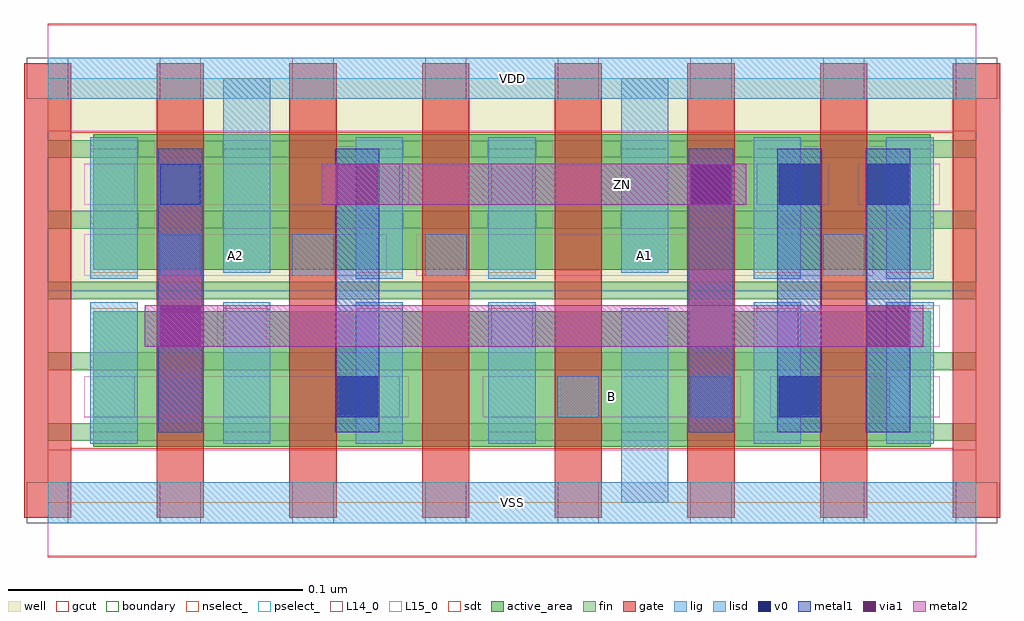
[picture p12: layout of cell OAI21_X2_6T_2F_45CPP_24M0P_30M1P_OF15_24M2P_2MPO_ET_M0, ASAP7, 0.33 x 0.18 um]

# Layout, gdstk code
import gdstk
lib = gdstk.Library(unit=1e-6, precision=2.5e-10)
def R(c, l, rs):  # rectangles x0, y0, x1, y1
    for r in rs: c.add(gdstk.rectangle(r[:2], r[2:], *l))
def A(c, l, x, y, w, h, nx, ny, dx, dy):  # array of equal rectangles
    R(c, l, [(x+i*dx, y+j*dy, x+i*dx+w, y+j*dy+h) for i in range(nx) for j in range(ny)])
well = (1, 0)
fin = (2, 0)
gate = (7, 0)
gcut = (10, 0)
active_area = (11, 0)
nselect_ = (12, 0)
pselect_ = (13, 0)
L14_0 = (14, 0)
L15_0 = (15, 0)
lig = (16, 0)
lisd = (17, 0)
v0 = (18, 0)
metal1 = (19, 0)
metal2 = (20, 0)
via1 = (21, 0)
sdt = (88, 0)
boundary = (100, 0)

oai21_x2_6t_2f_45cpp_24m = lib.new_cell('OAI21_X2_6T_2F_45CPP_24M0P_30M1P_OF15_24M2P_2MPO_ET_M0')
R(oai21_x2_6t_2f_45cpp_24m, well, [(0,0.072,0.315,0.144)])
A(oai21_x2_6t_2f_45cpp_24m, fin, 0, 0.021, 0.315, 0.006, 1, 5, 0, 0.024)
A(oai21_x2_6t_2f_45cpp_24m, gate, -0.008, -0.005, 0.016, 0.154, 8, 1, 0.045, 0)
R(oai21_x2_6t_2f_45cpp_24m, gcut, [(0,-0.0185,0.315,0.0185), (-0.008,-0.005,0.008,0.149), (0.307,-0.005,0.323,0.149), (0,0.1255,0.315,0.1625)])
A(oai21_x2_6t_2f_45cpp_24m, active_area, 0.0155, 0.019, 0.059, 0.046, 6, 2, 0.045, 0.06)
R(oai21_x2_6t_2f_45cpp_24m, nselect_, [(0,0,0.315,0.072)])
R(oai21_x2_6t_2f_45cpp_24m, pselect_, [(0,0.072,0.315,0.144)])
A(oai21_x2_6t_2f_45cpp_24m, L14_0, -0.007, -0.007, 0.014, 0.014, 8, 2, 0.045, 0.144)
A(oai21_x2_6t_2f_45cpp_24m, L14_0, 0.0605, 0.053, 0.014, 0.014, 3, 1, 0.09, 0)
A(oai21_x2_6t_2f_45cpp_24m, L14_0, 0.038, 0.077, 0.014, 0.014, 3, 1, 0.045, 0)
R(oai21_x2_6t_2f_45cpp_24m, L14_0, [(0.0155,0.029,0.0295,0.043), (0.1055,0.029,0.1195,0.043), (0.173,0.029,0.187,0.043), (0.218,0.029,0.232,0.043), (0.2855,0.029,0.2995,0.043), (0.263,0.077,0.277,0.091), (0.0155,0.101,0.0295,0.115), (0.1055,0.101,0.1195,0.115), (0.1505,0.101,0.1645,0.115), (0.2405,0.101,0.2545,0.115), (0.2855,0.101,0.2995,0.115)])
R(oai21_x2_6t_2f_45cpp_24m, L15_0, [(0,-0.018,0.315,0.018), (0.0125,0.029,0.1225,0.043), (0.1475,0.029,0.235,0.043), (0.245,0.029,0.3025,0.043), (0.0575,0.053,0.3025,0.067), (0.0125,0.077,0.115,0.091), (0.125,0.077,0.28,0.091), (0.0125,0.101,0.1225,0.115), (0.1475,0.101,0.265,0.115), (0.275,0.101,0.3025,0.115), (0,0.126,0.315,0.162)])
A(oai21_x2_6t_2f_45cpp_24m, lig, 0.038, 0.077, 0.014, 0.014, 3, 1, 0.045, 0)
R(oai21_x2_6t_2f_45cpp_24m, lig, [(0,-0.007,0.315,0.007), (0.173,0.029,0.187,0.043), (0.218,0.029,0.232,0.043), (0.263,0.077,0.277,0.091), (0,0.137,0.315,0.151)])
A(oai21_x2_6t_2f_45cpp_24m, lisd, 0.0145, 0.02, 0.016, 0.048, 4, 1, 0.045, 0)
R(oai21_x2_6t_2f_45cpp_24m, lisd, [(0.1945,0,0.2105,0.066), (0.2395,0.02,0.2555,0.068), (0.2845,0.02,0.3005,0.068), (0.0145,0.076,0.0305,0.124), (0.1045,0.076,0.1205,0.124), (0.1495,0.076,0.1655,0.124), (0.2395,0.076,0.2555,0.124), (0.2845,0.076,0.3005,0.124), (0.0595,0.078,0.0755,0.144), (0.1945,0.078,0.2105,0.144)])
A(oai21_x2_6t_2f_45cpp_24m, v0, 0.218, 0.101, 0.014, 0.014, 3, 1, 0.03, 0)
R(oai21_x2_6t_2f_45cpp_24m, v0, [(0.098,0.029,0.112,0.043), (0.248,0.029,0.262,0.043), (0.038,0.101,0.052,0.115)])
A(oai21_x2_6t_2f_45cpp_24m, metal1, 0.2175, 0.024, 0.015, 0.096, 3, 1, 0.03, 0)
R(oai21_x2_6t_2f_45cpp_24m, metal1, [(0.0375,0.024,0.0525,0.12), (0.0975,0.024,0.1125,0.12)])
R(oai21_x2_6t_2f_45cpp_24m, metal2, [(0.033,0.053,0.297,0.067), (0.093,0.101,0.237,0.115)])
R(oai21_x2_6t_2f_45cpp_24m, via1, [(0.038,0.053,0.052,0.067), (0.278,0.053,0.292,0.067), (0.098,0.101,0.112,0.115), (0.218,0.101,0.232,0.115)])
A(oai21_x2_6t_2f_45cpp_24m, sdt, 0.0145, 0.024, 0.016, 0.042, 7, 2, 0.045, 0.054)
R(oai21_x2_6t_2f_45cpp_24m, boundary, [(0,0,0.315,0.144)])
oai21_x2_6t_2f_45cpp_24m.add(gdstk.Label('A2', (0.0638,0.084), layer=15, texttype=251))
oai21_x2_6t_2f_45cpp_24m.add(gdstk.Label('A1', (0.2025,0.084), layer=15, texttype=251))
oai21_x2_6t_2f_45cpp_24m.add(gdstk.Label('B', (0.1913,0.036), layer=15, texttype=251))
oai21_x2_6t_2f_45cpp_24m.add(gdstk.Label('VDD', (0.1575,0.144), layer=15, texttype=251))
oai21_x2_6t_2f_45cpp_24m.add(gdstk.Label('VSS', (0.1575,0), layer=15, texttype=251))
oai21_x2_6t_2f_45cpp_24m.add(gdstk.Label('VDD', (0.1575,0.144), layer=1, texttype=251))
oai21_x2_6t_2f_45cpp_24m.add(gdstk.Label('VSS', (0.1575,0), layer=3, texttype=251))
oai21_x2_6t_2f_45cpp_24m.add(gdstk.Label('ZN', (0.195,0.108), layer=20, texttype=251))

lib.write_gds('OAI21_X2_6T_2F_45CPP_24M0P_30M1P_OF15_24M2P_2MPO_ET_M0.gds')
